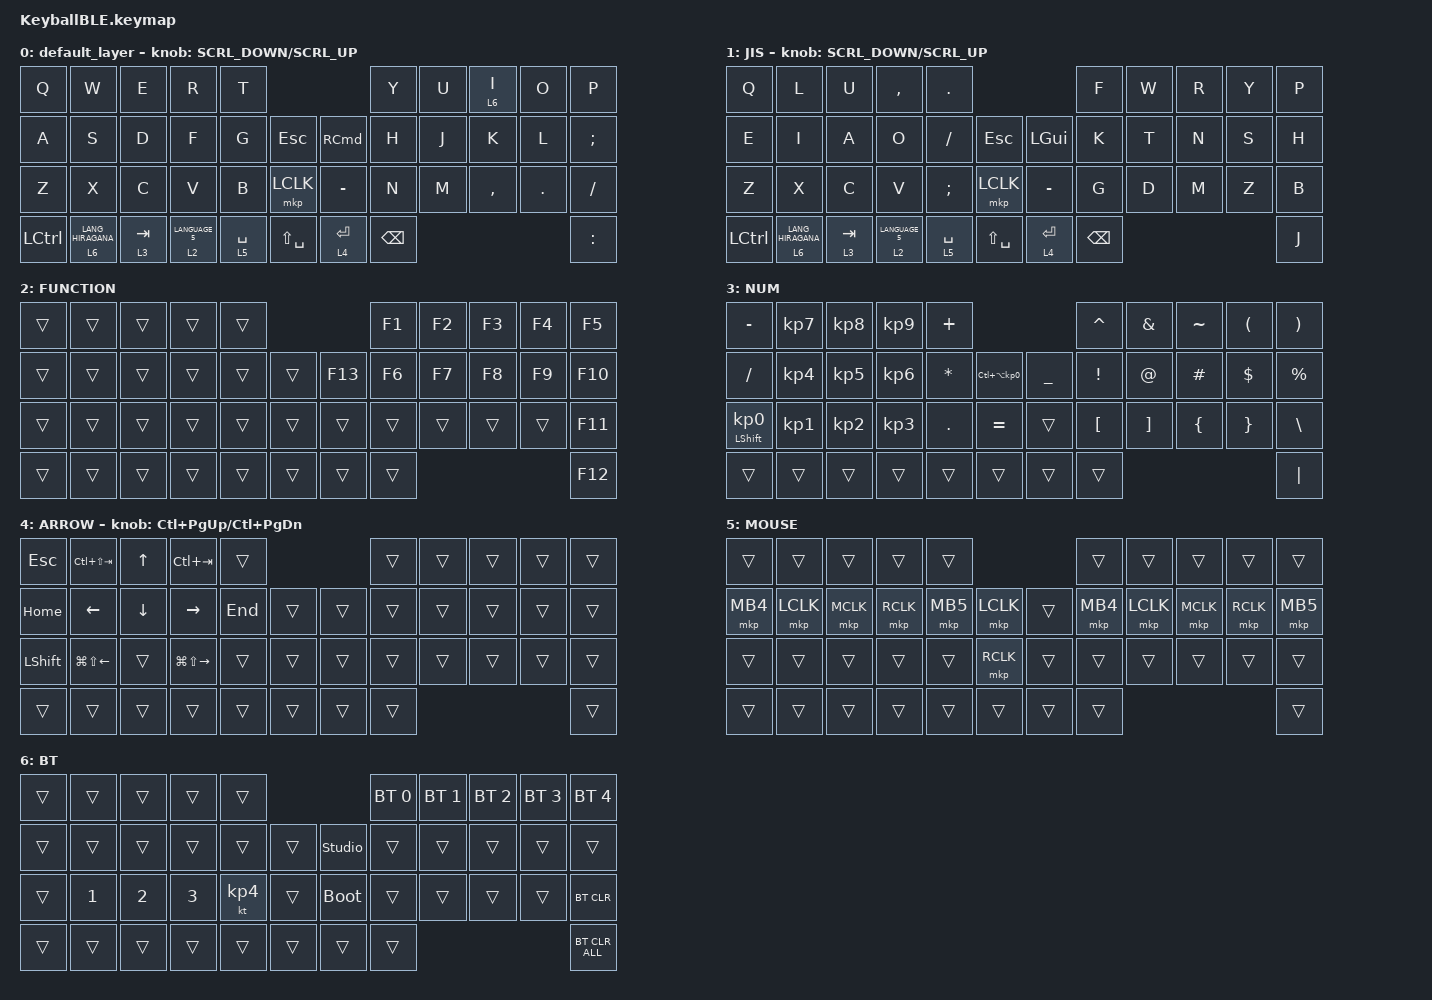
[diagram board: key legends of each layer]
#define ZMK_POINTING_DEFAULT_SCRL_VAL 120    // default: 10

#include <behaviors.dtsi>
#include <dt-bindings/zmk/bt.h>
#include <dt-bindings/zmk/keys.h>
#include <dt-bindings/zmk/pointing.h>

#define MOUSE 4
#define SCROLL 5
#define NUM 6

&mt {
    flavor = "balanced";
    quick-tap-ms = <0>;
};

/ {
    combos {
        compatible = "zmk,combos";

        double_quotation {
            bindings = <&kp DOUBLE_QUOTES>;
            key-positions = <20 21>;
        };
    };

    macros {
        to_layer_0: to_layer_0 {
            compatible = "zmk,behavior-macro-one-param";
            #binding-cells = <1>;
            bindings = <&to 0 &macro_param_1to1 &kp MACRO_PLACEHOLDER>;
            label = "TO_LAYER_0";
        };
    };

    behaviors {
        lt_to_layer_0: lt_to_layer_0 {
            compatible = "zmk,behavior-hold-tap";
            label = "LAYER_TAP_TO_0";
            bindings = <&mo>, <&to_layer_0>;

            #binding-cells = <2>;
            tapping-term-ms = <200>;
        };

        ROTATE: ROTATE {
            compatible = "zmk,behavior-sensor-rotate-var";
            label = "ROTATE";
            #sensor-binding-cells = <2>;
            bindings = <&msc>, <&msc>;

            tap-ms = <20>;
        };
    };

    keymap {
        compatible = "zmk,keymap";

        default_layer {
            bindings = <
&kp Q             &kp W                           &kp E      &kp R                        &kp T                                              &kp Y     &kp U  &lt 6 I    &kp O    &kp P
&kp A             &kp S                           &kp D      &kp F                        &kp G        &kp ESC            &kp RIGHT_COMMAND  &kp H     &kp J  &kp K      &kp L    &kp SEMICOLON
&kp Z             &kp X                           &kp C      &kp V                        &kp B        &mkp LCLK          &kp MINUS          &kp N     &kp M  &kp COMMA  &kp DOT  &kp SLASH
&kp LEFT_CONTROL  &lt_to_layer_0 6 LANG_HIRAGANA  &lt 3 TAB  &lt_to_layer_0 2 LANGUAGE_5  &lt 5 SPACE  &kp LS(SPACE)      &lt 4 ENTER        &kp BSPC                             &kp COLON
            >;

            sensor-bindings = <&ROTATE SCRL_DOWN SCRL_UP>;
        };

        JIS {
            bindings = <
&kp Q             &kp L                           &kp U      &kp COMMA                    &kp DOT                                      &kp F     &kp W  &kp R  &kp Y  &kp P
&kp E             &kp I                           &kp A      &kp O                        &kp FSLH     &kp ESC            &kp LGUI     &kp K     &kp T  &kp N  &kp S  &kp H
&kp Z             &kp X                           &kp C      &kp V                        &kp SEMI     &mkp LCLK          &kp MINUS    &kp G     &kp D  &kp M  &kp Z  &kp B
&kp LEFT_CONTROL  &lt_to_layer_0 6 LANG_HIRAGANA  &lt 3 TAB  &lt_to_layer_0 2 LANGUAGE_5  &lt 5 SPACE  &kp LS(SPACE)      &lt 4 ENTER  &kp BSPC                       &kp J
            >;

            sensor-bindings = <&ROTATE SCRL_DOWN SCRL_UP>;
        };

        FUNCTION {
            bindings = <
&trans  &trans  &trans  &trans  &trans                       &kp F1  &kp F2  &kp F3  &kp F4  &kp F5
&trans  &trans  &trans  &trans  &trans  &trans      &kp F13  &kp F6  &kp F7  &kp F8  &kp F9  &kp F10
&trans  &trans  &trans  &trans  &trans  &trans      &trans   &trans  &trans  &trans  &trans  &kp F11
&trans  &trans  &trans  &trans  &trans  &trans      &trans   &trans                          &kp F12
            >;
        };

        NUM {
            bindings = <
&kp MINUS                   &kp KP_NUMBER_7  &kp KP_NUMBER_8  &kp KP_NUMBER_9  &kp PLUS                                                   &kp CARET         &kp AMPERSAND      &kp TILDE       &kp LEFT_PARENTHESIS  &kp RIGHT_PARENTHESIS
&kp SLASH                   &kp KP_NUMBER_4  &kp KP_NUMBER_5  &kp KP_NUMBER_6  &kp ASTERISK  &kp LC(LA(KP_NUMBER_0))      &kp UNDERSCORE  &kp EXCLAMATION   &kp AT_SIGN        &kp HASH        &kp DOLLAR            &kp PERCENT
&mt LEFT_SHIFT KP_NUMBER_0  &kp KP_NUMBER_1  &kp KP_NUMBER_2  &kp KP_NUMBER_3  &kp PERIOD    &kp EQUAL                    &trans          &kp LEFT_BRACKET  &kp RIGHT_BRACKET  &kp LEFT_BRACE  &kp RIGHT_BRACE       &kp BACKSLASH
&trans                      &trans           &trans           &trans           &trans        &trans                       &trans          &trans                                                                     &kp PIPE
            >;
        };

        ARROW {
            bindings = <
&kp ESCAPE      &kp LC(LS(TAB))         &kp UP_ARROW    &kp LC(TAB)              &trans                       &trans  &trans  &trans  &trans  &trans
&kp HOME        &kp LEFT_ARROW          &kp DOWN_ARROW  &kp RIGHT_ARROW          &kp END  &trans      &trans  &trans  &trans  &trans  &trans  &trans
&kp LEFT_SHIFT  &kp LG(LS(LEFT_ARROW))  &trans          &kp LG(LS(RIGHT_ARROW))  &trans   &trans      &trans  &trans  &trans  &trans  &trans  &trans
&trans          &trans                  &trans          &trans                   &trans   &trans      &trans  &trans                          &trans
            >;

            sensor-bindings = <&inc_dec_kp LC(PAGE_UP) LC(PAGE_DOWN)>;
        };

        MOUSE {
            bindings = <
&trans    &trans     &trans     &trans     &trans                           &trans    &trans     &trans     &trans     &trans
&mkp MB4  &mkp LCLK  &mkp MCLK  &mkp RCLK  &mkp MB5  &mkp LCLK      &trans  &mkp MB4  &mkp LCLK  &mkp MCLK  &mkp RCLK  &mkp MB5
&trans    &trans     &trans     &trans     &trans    &mkp RCLK      &trans  &trans    &trans     &trans     &trans     &trans
&trans    &trans     &trans     &trans     &trans    &trans         &trans  &trans                                     &trans
            >;
        };

        BT {
            bindings = <
&trans  &trans        &trans        &trans        &trans                                 &bt BT_SEL 0  &bt BT_SEL 1  &bt BT_SEL 2  &bt BT_SEL 3  &bt BT_SEL 4
&trans  &trans        &trans        &trans        &trans     &trans      &studio_unlock  &trans        &trans        &trans        &trans        &trans
&trans  &kp NUMBER_1  &kp NUMBER_2  &kp NUMBER_3  &kt KP_N4  &trans      &bootloader     &trans        &trans        &trans        &trans        &bt BT_CLR
&trans  &trans        &trans        &trans        &trans     &trans      &trans          &trans                                                  &bt BT_CLR_ALL
            >;
        };
    };
};
